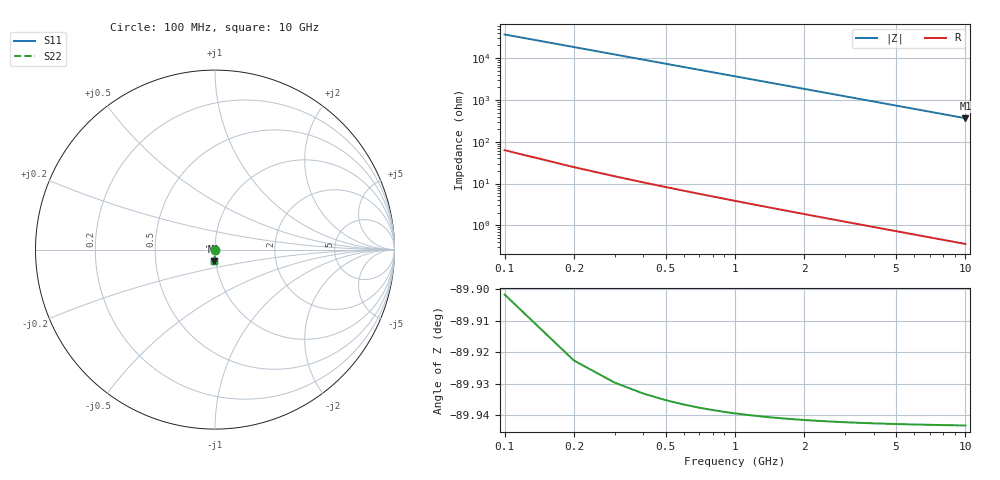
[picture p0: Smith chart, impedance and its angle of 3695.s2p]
# Hz S RI R 50.00
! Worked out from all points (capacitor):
!   100 points, 100 MHz to 10 GHz, reference 50 ohm
!   read as one part in shunt: C = 43.4 fF near 100 MHz
!   lowest |Z| = 365 ohm at 10 GHz (marker M1)
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1e8  3.04e-05 -0.000652  1 -0.000713  1 -0.000713  3.04e-05 -0.000652
2e8  2.85e-05 -0.0013  1 -0.00143  1 -0.00143  2.85e-05 -0.0013
3e8  2.57e-05 -0.00196  1 -0.00214  1 -0.00214  2.57e-05 -0.00196
4e8  2.19e-05 -0.00261  1 -0.00285  1 -0.00285  2.19e-05 -0.00261
5e8  1.72e-05 -0.00326  1 -0.00357  1 -0.00357  1.72e-05 -0.00326
6e8  1.15e-05 -0.00391  0.9999 -0.00428  0.9999 -0.00428  1.15e-05 -0.00391
7e8  4.88e-06 -0.00456  0.9999 -0.00499  0.9999 -0.00499  4.88e-06 -0.00456
8e8  -2.68e-06 -0.00522  0.9999 -0.00571  0.9999 -0.00571  -2.68e-06 -0.00522
9e8  -1.12e-05 -0.00587  0.9999 -0.00642  0.9999 -0.00642  -1.12e-05 -0.00587
1.1e9  -3.1e-05 -0.00717  0.9999 -0.00784  0.9999 -0.00784  -3.1e-05 -0.00717
1.4e9  -6.76e-05 -0.00913  0.9999 -0.00998  0.9999 -0.00998  -6.76e-05 -0.00913
1.8e9  -0.00013 -0.0117  0.9998 -0.0128  0.9998 -0.0128  -0.00013 -0.0117
2.1e9  -0.000186 -0.0137  0.9997 -0.015  0.9997 -0.015  -0.000186 -0.0137
2.5e9  -0.000274 -0.0163  0.9997 -0.0178  0.9997 -0.0178  -0.000274 -0.0163
2.9e9  -0.000377 -0.0189  0.9996 -0.0207  0.9996 -0.0207  -0.000377 -0.0189
3.4e9  -0.000526 -0.0222  0.9994 -0.0242  0.9994 -0.0242  -0.000526 -0.0222
4.2e9  -0.000814 -0.0274  0.9991 -0.0299  0.9991 -0.0299  -0.000814 -0.0274
5.1e9  -0.00121 -0.0332  0.9987 -0.0364  0.9987 -0.0364  -0.00121 -0.0332
5.9e9  -0.00162 -0.0384  0.9983 -0.0421  0.9983 -0.0421  -0.00162 -0.0384
6.7e9  -0.0021 -0.0436  0.9978 -0.0478  0.9978 -0.0478  -0.0021 -0.0436
8.4e9  -0.0033 -0.0547  0.9966 -0.0598  0.9966 -0.0598  -0.0033 -0.0547
1e10  -0.00468 -0.065  0.9952 -0.0712  0.9952 -0.0712  -0.00468 -0.065
